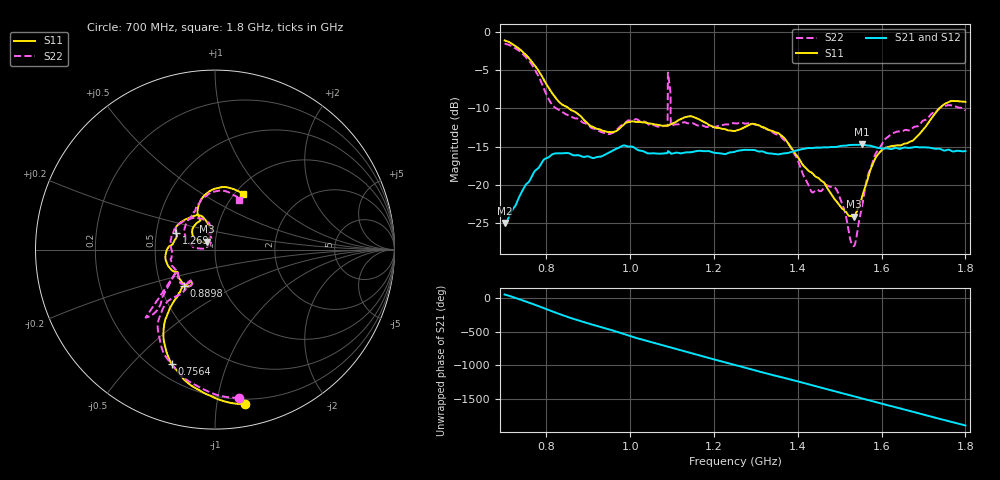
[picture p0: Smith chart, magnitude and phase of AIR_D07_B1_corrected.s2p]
! Created with skrf 1.9.0 (http://scikit-rf.org).
# Hz S RI R 50.0
!freq ReS11 ImS11 ReS21 ImS21 ReS12 ImS12 ReS22 ImS22
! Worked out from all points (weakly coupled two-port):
!   1601 points, 700 MHz to 1.8 GHz, reference 50 ohm
!   highest |S21| = -14.70 dB at 1.554 GHz (marker M1); lowest = -25.0 dB at 700.7 MHz (marker M2)
!   lowest |S11| = -24.2 dB at 1.533 GHz (marker M3), VSWR 1.13, Z = 45.7 + j4.1 ohm
!   |S11| at or under -10 dB: 853.5 MHz to 1.738 GHz (884.5 MHz wide, 68.3 % of centre)
!   |S22| runs from -28.0 to -1.5 dB; largest |S21 - S12| = 0.0036
!   S11 on the Smith chart (normalised r, x): 700 MHz: 0.16, -1.20; 756.4 MHz: 0.27, -0.66; 889.8 MHz: 0.66, -0.28; 1.269 GHz: 0.63, +0.12; 1.8 GHz: 1.09, +0.77
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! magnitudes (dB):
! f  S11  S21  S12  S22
! 700 MHz  -1.1  -25.0  -24.8  -1.5
! 700.7 MHz  -1.1  -25.0  -24.7  -1.6
! 756.4 MHz  -3.3  -19.7  -19.5  -3.7
! 814.8 MHz  -8.1  -16.0  -16.0  -9.6
! 883.6 MHz  -11.1  -16.3  -16.2  -11.7
! 889.8 MHz  -11.5  -16.4  -16.3  -11.9
! 1.067 GHz  -12.2  -15.9  -15.9  -12.4
! 1.084 GHz  -12.3  -15.9  -15.9  -12.3
! 1.095 GHz  -12.1  -15.8  -15.8  -7.6
! 1.102 GHz  -11.9  -15.9  -15.8  -12.2
! 1.25 GHz  -13.0  -15.7  -15.6  -12.0
! 1.269 GHz  -12.6  -15.4  -15.4  -11.9
! 1.374 GHz  -14.4  -15.8  -15.8  -14.4
! 1.434 GHz  -18.4  -15.2  -15.2  -21.0
! 1.491 GHz  -22.1  -15.0  -15.0  -20.5
! 1.533 GHz  -24.2  -14.8  -14.8  -28.0
! 1.554 GHz  -21.5  -14.7  -14.7  -22.7
! 1.583 GHz  -16.8  -15.0  -15.0  -16.3
! 1.617 GHz  -15.0  -15.3  -15.2  -13.6
! 1.676 GHz  -14.1  -15.1  -15.1  -12.5
! 1.744 GHz  -9.7  -15.4  -15.4  -9.8
! 1.8 GHz  -9.2  -15.6  -15.6  -10.3
